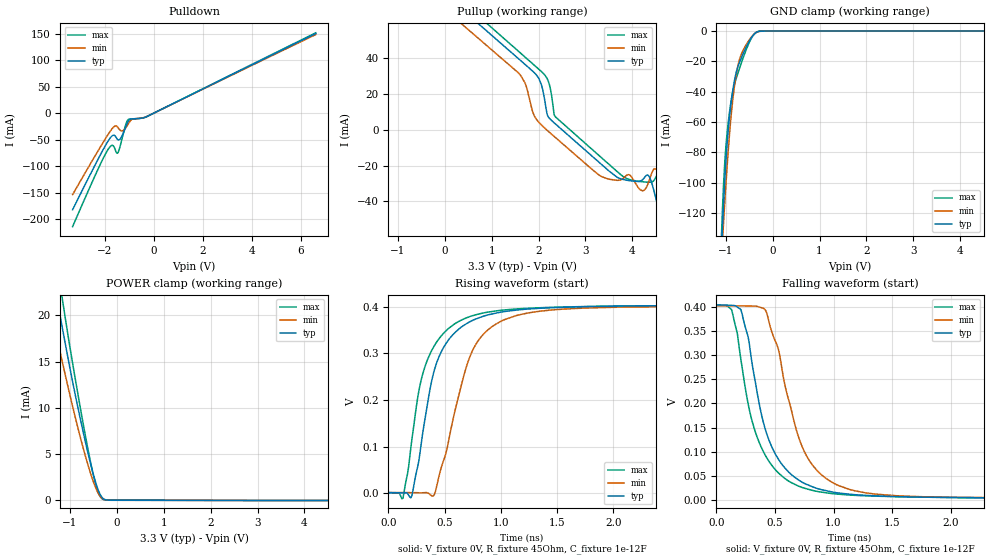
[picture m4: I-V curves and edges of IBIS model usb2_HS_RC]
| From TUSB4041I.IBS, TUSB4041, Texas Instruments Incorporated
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|   USB 2.0 High Speed mode, for DP pin 240MHz (Internal Termination ON)
[Model]   usb2_HS_RC
Model_type   I/O
Polarity   Non-Inverting
Enable   Active-High
Vmeas = 202mV
Vref = 0
Rref = 45
Cref =1pF
Vinl = 150mV
Vinh = 360mV
|   typ   min   max
|EXCEPTION   (nom PVT)   (Slow PVT) (Fast PVT)
C_comp   5.8941pF   5.4228pF   6.1646pF
[Voltage Range]   3.3   2.97   3.465
[Temperature Range]   27   105   -40
[Pullup Reference]   3.3   2.97   3.465
[Pulldown Reference]   0   0   0
[Power Clamp Reference]   3.3   2.97   3.465
[GND Clamp Reference]   0   0   0
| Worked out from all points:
|   slope of the pulldown table from 0 to 0.495 V, typ, clamps not added: 43.6 ohm
|   slope of the pullup table from 0 to 0.495 V, typ, clamps not added: 43.8 ohm
|   GND clamp passes 1 mA (typ) near -0.35 V on its own axis
|   POWER clamp passes 1 mA (typ) near -0.38 V on its own axis
|   falling waveform, V_fixture 0V, R_fixture 45Ohm, C_fixture 1e-12F: 20-80 % time 252ps typ, 275ps min, 250ps max; typ from 0.405 V to 0.002 V
|   rising waveform, V_fixture 0V, R_fixture 45Ohm, C_fixture 1e-12F: 20-80 % time 240ps typ, 278ps min, 235ps max; typ from 0.002 V to 0.404 V
[Pulldown]
|   Voltage   I(typ)   I(min)   I(max)
-3.3V     -182.7mA   -154mA     -214.5mA
-2.109V   -73.47mA   -59.12mA   -90.55mA
-1.836V   -51.34mA   -38.81mA   -67.06mA
-1.687V   -42.74mA   -29.04mA   -60.76mA
-1.588V   -42.26mA   -24.56mA   -66.11mA
-1.464V   -49.94mA   -26.46mA   -75.27mA
-1.265V   -40.67mA   -33.14mA   -44.1mA
-1.141V   -26.63mA   -28.06mA   -22.45mA
-1.042V   -16mA      -21.02mA   -12.18mA
-868.4mV  -10.68mA   -11.28mA   -10.85mA
-297.7mV  -6.74mA    -6.624mA   -6.826mA
6.6V      150.7mA    148.8mA    152.1mA
[GND Clamp]
|   Voltage   I(typ)   I(min)   I(max)
-3.3V     -3.521A    -2.996A    -4.111A
-1.092V   -145.9mA   -151.2mA   -136.4mA
-1.067V   -128.4mA   -137.7mA   -116.4mA
-1.042V   -112.2mA   -124.7mA   -99.36mA
-1.017V   -97.56mA   -112.1mA   -85.68mA
-967.7mV  -73.5mA    -88.57mA   -66.63mA
-893.2mV  -49.51mA   -59.02mA   -47.86mA
-818.8mV  -33.69mA   -37.74mA   -35.76mA
-669.9mV  -17.99mA   -15.57mA   -21.42mA
-471.4mV  -5.326mA   -4.698mA   -5.944mA
-322.6mV  -523.8uA   -615.4uA   -432uA
6.6V      0A         0A         0A
[Pullup]
|   Voltage   I(typ)   I(min)   I(max)
-3.3V     150.7mA    141.5mA    155.9mA
1.563V    39.81mA    31.86mA    43.93mA
1.96V     30.34mA    5.602mA    34.77mA
2.208V    7.102mA    -875.8uA   27.06mA
2.357V    3.277mA    -4.287mA   7.257mA
3.275V    -17.82mA   -24.99mA   -14.06mA
4.342V    -25.52mA   -29.54mA   -29.28mA
4.565V    -44.49mA   -24.78mA   -25.96mA
4.764V    -50.65mA   -42.33mA   -56.23mA
4.913V    -44.86mA   -57.23mA   -80.87mA
5.086V    -57mA      -75.14mA   -71.32mA
6.6V      -238.4mA   -237.7mA   -255.4mA
[POWER Clamp]
|   Voltage   I(typ)   I(min)   I(max)
-3.3V     96.76mA    79.79mA    115.2mA
-1.538V   29.26mA    23.71mA    34.64mA
-1.365V   24.34mA    19.65mA    28.67mA
-1.315V   22.95mA    18.5mA     26.98mA
-1.216V   20.19mA    16.23mA    23.63mA
-1.141V   18.14mA    14.55mA    21.16mA
-843.6mV  10.42mA    8.146mA    11.95mA
-570.7mV  4.224mA    3.128mA    4.449mA
-421.8mV  1.503mA    1.054mA    1.277mA
-372.2mV  844uA      587uA      607.5uA
-297.7mV  244.6uA    181.6uA    136.8uA
6.6V      0A         0A         0A
[Ramp]
R_load = 45
|   typ   min   max
dV/dt_r   0.241364/2.40298e-10   0.240102/2.77902e-10   0.241582/2.34784e-10
dV/dt_f   0.24137/2.52037e-10   0.240087/2.75243e-10   0.241515/2.50484e-10
[Falling Waveform]
V_fixture = 0V
V_fixture_min = 0V
V_fixture_max = 0V
R_fixture = 45Ohm
C_fixture = 1e-12F
|   Time   V(typ)   V(min)   V(max)
0s        404.5mV    402.7mV    404.6mV
130ps     403.7mV    402.8mV    395.2mV
210ps     394.8mV    402.7mV    290.8mV
300ps     291.2mV    402.3mV    168.3mV
420ps     144.6mV    393.5mV    91.43mV
530ps     84.09mV    312.2mV    55.57mV
680ps     44.73mV    147.1mV    30.66mV
860ps     23.36mV    60.43mV    17.27mV
1.18ns    10.47mV    18.61mV    9.102mV
3.5ns     2.259mV    2.567mV    2.121mV
[Rising Waveform]
V_fixture = 0V
V_fixture_min = 0V
V_fixture_max = 0V
R_fixture = 45Ohm
C_fixture = 1e-12F
|   Time   V(typ)   V(min)   V(max)
0s        1.753mV    1.976mV    1.462mV
130ps     1.073mV    1.846mV    -10.27mV
210ps     -4.468mV   1.677mV    116.9mV
290ps     102.3mV    1.34mV     241.2mV
400ps     256.1mV    -5.588mV   312.8mV
500ps     316.5mV    76.65mV    345.6mV
640ps     355mV      223.1mV    370.5mV
810ps     376.8mV    331mV      384.9mV
1.14ns    393mV      381.4mV    395.5mV
3.5ns     404mV      402.1mV    404.1mV
